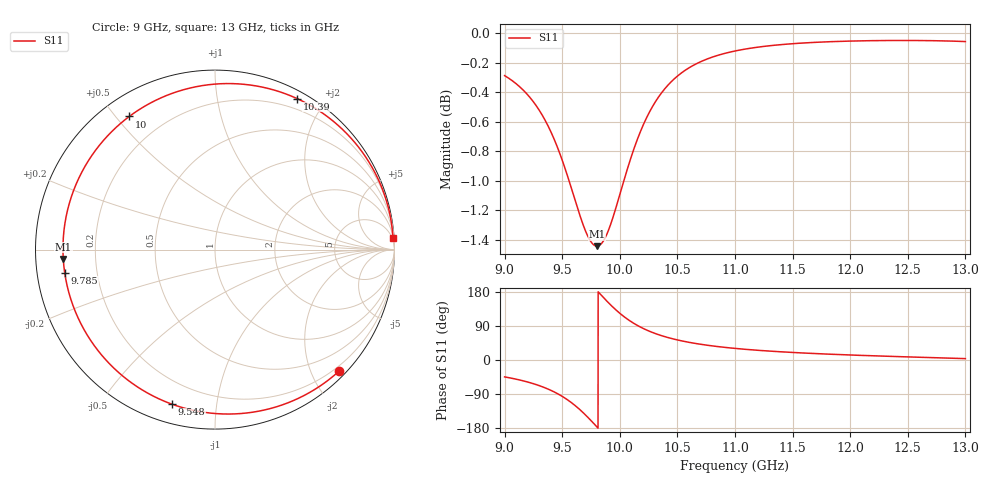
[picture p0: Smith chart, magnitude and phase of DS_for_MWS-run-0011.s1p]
! TOUCHSTONE file generated by CST DESIGN STUDIO
! Date and time: Tue Feb  4 16:07:25 2025
! Project name: C:\Work\MatlabApps\UnitCellOptimizationMatlab\CST\unitcell.cst
! Tree item: Tasks\Sweep1\SPara1\S-Parameters
! Header version: 2024
! Port assignment regex: !\s*Touchstone port\s*([0-9]+)\s*=\s*(CST MWS port|CST DES external port|CST DES block port)\s*(.+)\s* \(\"(.*)\"\)(\s*mode\s*([0-9]+))?.*
! Touchstone port assignment:
! Touchstone port 1 = CST DES external port 1 ("")
# GHz S MA R 50
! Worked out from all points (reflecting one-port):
!   4001 points, 9 GHz to 13 GHz, reference 50 ohm
!   lowest |S11| = -1.4 dB at 9.801 GHz (marker M1), VSWR 12.07, Z = 4.15 - j1.53 ohm
!   phase of S11 starts at -45 deg and turns -312 deg over the sweep
!   S11 on the Smith chart (normalised r, x): 9 GHz: 0.12, -2.44; 9.548 GHz: 0.09, -0.76; 9.785 GHz: 0.08, -0.08; 10 GHz: 0.08, +0.54; 10.39 GHz: 0.08, +1.68; 13 GHz: 3, +31
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9  0.9673 -44.6
9.145  0.9579 -53.8
9.276  0.9447 -65.1
9.39  0.928 -78.5
9.5  0.9057 -96.0
9.548  0.8942 -105.5
9.607  0.8791 -118.9
9.663  0.8654 -133.7
9.729  0.8526 -153.2
9.785  0.8473 -171.2
9.801  0.847 -176.5
9.844  0.849 169.4
9.889  0.8552 155.0
9.946  0.8675 137.9
10  0.8817 123.3
10.002  0.8823 122.8
10.074  0.9017 106.1
10.155  0.921 90.8
10.27  0.9422 74.3
10.393  0.9577 61.4
10.5  0.967 52.9
10.602  0.9733 46.6
10.717  0.9785 40.8
11  0.9861 30.6
11.5  0.9917 19.9
12  0.9937 13.2
12.5  0.9942 8.2
13  0.9934 3.6
